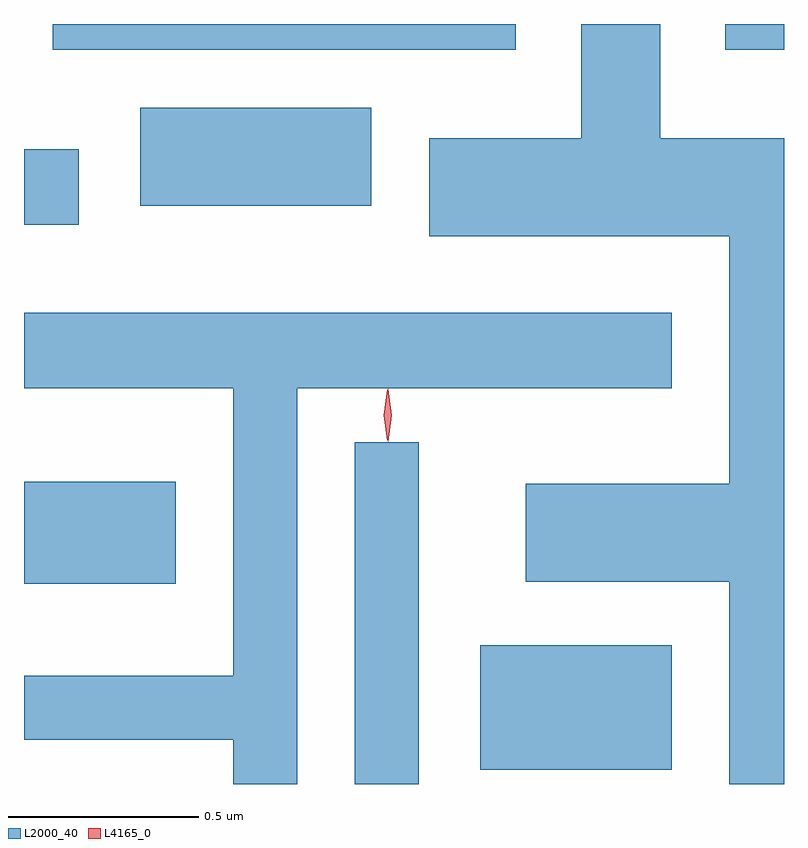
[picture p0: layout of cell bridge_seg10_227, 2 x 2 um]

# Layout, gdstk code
import gdstk
lib = gdstk.Library(unit=1e-6, precision=1e-09)
def R(c, l, rs):  # rectangles x0, y0, x1, y1
    for r in rs: c.add(gdstk.rectangle(r[:2], r[2:], *l))
def P(c, l, *ps):  # polygons
    for p in ps: c.add(gdstk.Polygon(p, *l))
L2000_40 = (2000, 40)
L4165_0 = (4165, 0)

bridge_seg10_227 = lib.new_cell('bridge_seg10_227')
R(bridge_seg10_227, L2000_40, [(1711.961,2141.274,1712.129,2142.173), (1712.291,2141.311,1712.794,2141.639), (1711.09,2141.801,1711.489,2142.069), (1711.09,2142.746,1711.234,2142.944), (1711.396,2142.796,1712.004,2143.054), (1711.166,2143.206,1712.384,2143.274), (1712.936,2143.206,1713.09,2143.274)])
P(bridge_seg10_227, L2000_40, [(1713.09,2142.974),(1712.764,2142.974),(1712.764,2143.274),(1712.556,2143.274),(1712.556,2142.974),(1712.156,2142.974),(1712.156,2142.716),(1712.946,2142.716),(1712.946,2142.064),(1712.411,2142.064),(1712.411,2141.806),(1712.946,2141.806),(1712.946,2141.274),(1713.09,2141.274)],
  [(1711.809,2142.316),(1712.794,2142.316),(1712.794,2142.514),(1711.09,2142.514),(1711.09,2142.316),(1711.641,2142.316),(1711.641,2141.559),(1711.09,2141.559),(1711.09,2141.391),(1711.641,2141.391),(1711.641,2141.274),(1711.809,2141.274)])
P(bridge_seg10_227, L4165_0, [(1712.046,2142.178),(1712.037,2142.244),(1712.046,2142.311),(1712.047,2142.311),(1712.047,2142.311),(1712.057,2142.244),(1712.047,2142.178),(1712.047,2142.178)],
  [(1712.048,2142.174),(1712.048,2142.175),(1712.038,2142.244),(1712.048,2142.313),(1712.048,2142.314),(1712.048,2142.313),(1712.058,2142.244),(1712.048,2142.175)])

lib.write_gds('bridge_seg10_227.gds')
